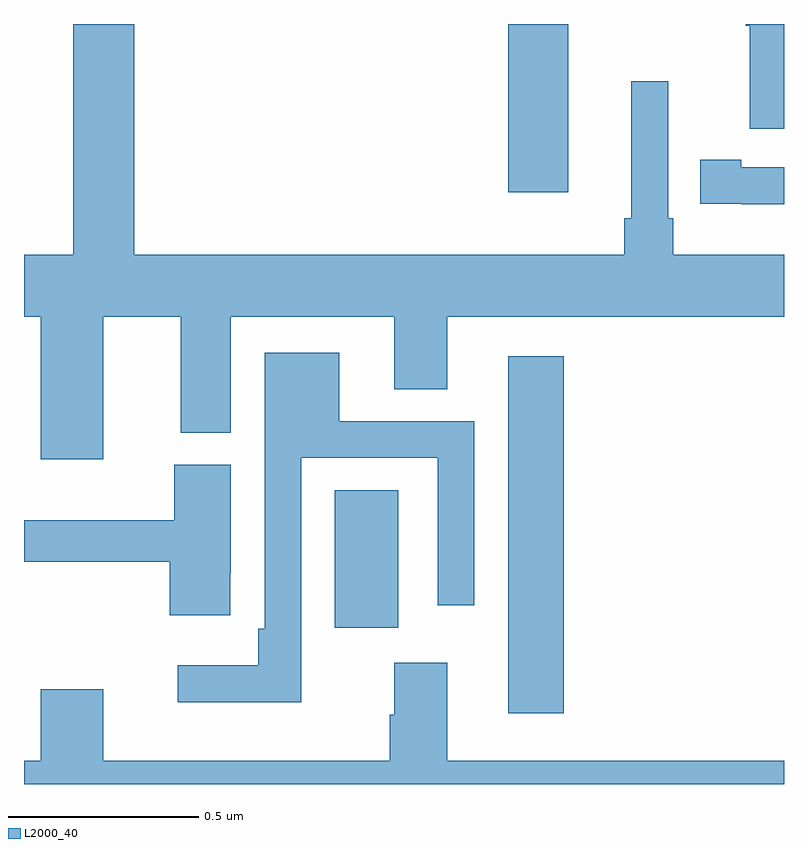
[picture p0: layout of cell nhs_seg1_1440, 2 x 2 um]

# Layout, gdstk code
import gdstk
lib = gdstk.Library(unit=1e-6, precision=1e-09)
def R(c, l, rs):  # rectangles x0, y0, x1, y1
    for r in rs: c.add(gdstk.rectangle(r[:2], r[2:], *l))
def P(c, l, *ps):  # polygons
    for p in ps: c.add(gdstk.Polygon(p, *l))
L2000_40 = (2000, 40)

nhs_seg1_1440 = lib.new_cell('nhs_seg1_1440')
R(nhs_seg1_1440, L2000_40, [(130.274,521.385,130.421,522.325), (129.818,521.61,129.985,521.972), (130.274,522.756,130.432,523.199)])
P(nhs_seg1_1440, L2000_40, [(129.208,522.428),(129.413,522.428),(129.413,522.124),(129.544,522.124),(129.544,522.428),(129.974,522.428),(129.974,522.238),(130.114,522.238),(130.114,522.428),(131,522.428),(131,522.592),(130.709,522.592),(130.709,522.688),(130.695,522.688),(130.695,523.048),(130.598,523.048),(130.598,522.688),(130.579,522.688),(130.579,522.592),(129.29,522.592),(129.29,523.199),(129.13,523.199),(129.13,522.592),(129,522.592),(129,522.428),(129.044,522.428),(129.044,522.054),(129.208,522.054)],
  [(131,523.199),(130.899,523.199),(130.899,523.195),(130.91,523.195),(130.91,522.924),(131,522.924)],
  [(131,522.822),(130.888,522.822),(130.888,522.842),(130.78,522.842),(130.78,522.726),(130.888,522.726),(130.888,522.725),(131,522.725)],
  [(129.729,522.057),(130.089,522.057),(130.089,521.67),(130.185,521.67),(130.185,522.153),(129.829,522.153),(129.829,522.334),(129.633,522.334),(129.633,521.608),(129.617,521.608),(129.617,521.512),(129.405,521.512),(129.405,521.414),(129.729,521.414)],
  [(129.543,521.755),(129.544,521.755),(129.544,522.039),(129.395,522.039),(129.395,521.893),(129,521.893),(129,521.784),(129.383,521.784),(129.383,521.643),(129.543,521.643)],
  [(131,521.26),(130.114,521.26),(130.114,521.518),(129.974,521.518),(129.974,521.381),(129.962,521.381),(129.962,521.26),(129.208,521.26),(129.208,521.449),(129.044,521.449),(129.044,521.26),(129,521.26),(129,521.199),(131,521.199)])

lib.write_gds('nhs_seg1_1440.gds')
